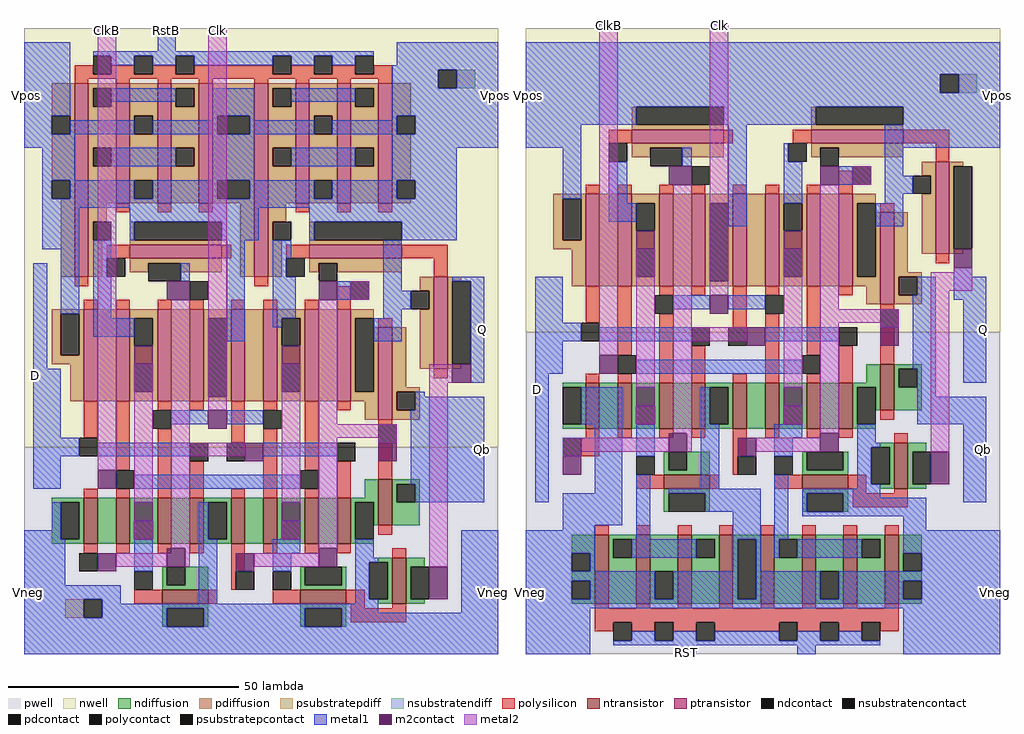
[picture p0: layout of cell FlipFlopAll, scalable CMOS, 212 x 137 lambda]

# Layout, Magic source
magic
tech scmos
<< nwell >>
rect 213 -299 316 -208
rect 322 -274 425 -208
<< pwell >>
rect 213 -344 316 -299
rect 322 -344 425 -274
<< ntransistor >>
rect 335 -295 338 -285
rect 342 -295 345 -285
rect 351 -295 354 -285
rect 358 -295 361 -285
rect 367 -295 370 -285
rect 374 -295 377 -285
rect 383 -295 386 -285
rect 390 -295 393 -285
rect 399 -291 402 -281
rect 226 -320 229 -310
rect 233 -320 236 -310
rect 242 -320 245 -310
rect 249 -320 252 -310
rect 258 -320 261 -310
rect 265 -320 268 -310
rect 274 -320 277 -310
rect 281 -320 284 -310
rect 290 -316 293 -306
rect 352 -308 362 -305
rect 382 -308 392 -305
rect 402 -308 405 -298
rect 243 -333 253 -330
rect 273 -333 283 -330
rect 293 -333 296 -323
rect 337 -333 340 -318
rect 346 -333 349 -318
rect 355 -333 358 -318
rect 364 -333 367 -318
rect 373 -333 376 -318
rect 382 -333 385 -318
rect 391 -333 394 -318
rect 400 -333 403 -318
<< ptransistor >>
rect 224 -262 227 -220
rect 233 -246 236 -220
rect 242 -246 245 -220
rect 251 -246 254 -220
rect 236 -258 256 -255
rect 263 -262 266 -220
rect 272 -246 275 -220
rect 281 -246 284 -220
rect 290 -246 293 -220
rect 345 -233 365 -230
rect 384 -233 404 -230
rect 275 -258 295 -255
rect 226 -289 229 -269
rect 233 -289 236 -269
rect 242 -289 245 -269
rect 249 -289 252 -269
rect 258 -289 261 -269
rect 265 -289 268 -269
rect 274 -289 277 -269
rect 281 -289 284 -269
rect 290 -293 293 -273
rect 302 -282 305 -262
rect 335 -264 338 -244
rect 342 -264 345 -244
rect 351 -264 354 -244
rect 358 -264 361 -244
rect 367 -264 370 -244
rect 374 -264 377 -244
rect 383 -264 386 -244
rect 390 -264 393 -244
rect 399 -268 402 -248
rect 411 -257 414 -237
<< ndiffusion >>
rect 396 -285 399 -281
rect 330 -286 335 -285
rect 334 -294 335 -286
rect 330 -295 335 -294
rect 338 -295 342 -285
rect 345 -290 351 -285
rect 345 -294 346 -290
rect 350 -294 351 -290
rect 345 -295 351 -294
rect 354 -295 358 -285
rect 361 -286 367 -285
rect 361 -294 362 -286
rect 366 -294 367 -286
rect 361 -295 367 -294
rect 370 -295 374 -285
rect 377 -290 383 -285
rect 377 -294 378 -290
rect 382 -294 383 -290
rect 377 -295 383 -294
rect 386 -295 390 -285
rect 393 -286 399 -285
rect 393 -294 394 -286
rect 398 -291 399 -286
rect 402 -282 408 -281
rect 402 -286 403 -282
rect 407 -286 408 -282
rect 402 -291 408 -286
rect 393 -295 398 -294
rect 352 -304 353 -300
rect 357 -304 362 -300
rect 352 -305 362 -304
rect 399 -299 402 -298
rect 382 -304 383 -300
rect 391 -304 392 -300
rect 382 -305 392 -304
rect 287 -310 290 -306
rect 219 -311 226 -310
rect 219 -319 221 -311
rect 225 -319 226 -311
rect 219 -320 226 -319
rect 229 -320 233 -310
rect 236 -315 242 -310
rect 236 -319 237 -315
rect 241 -319 242 -315
rect 236 -320 242 -319
rect 245 -320 249 -310
rect 252 -311 258 -310
rect 252 -319 253 -311
rect 257 -319 258 -311
rect 252 -320 258 -319
rect 261 -320 265 -310
rect 268 -315 274 -310
rect 268 -319 269 -315
rect 273 -319 274 -315
rect 268 -320 274 -319
rect 277 -320 281 -310
rect 284 -311 290 -310
rect 284 -319 285 -311
rect 289 -316 290 -311
rect 293 -307 299 -306
rect 293 -311 294 -307
rect 298 -311 299 -307
rect 401 -307 402 -299
rect 399 -308 402 -307
rect 405 -300 409 -298
rect 405 -307 406 -300
rect 405 -308 409 -307
rect 293 -316 299 -311
rect 352 -309 362 -308
rect 352 -313 353 -309
rect 361 -313 362 -309
rect 382 -309 392 -308
rect 382 -313 383 -309
rect 391 -313 392 -309
rect 284 -320 289 -319
rect 243 -329 244 -325
rect 248 -329 253 -325
rect 243 -330 253 -329
rect 332 -322 337 -318
rect 290 -324 293 -323
rect 273 -329 274 -325
rect 282 -329 283 -325
rect 273 -330 283 -329
rect 292 -332 293 -324
rect 290 -333 293 -332
rect 296 -325 300 -323
rect 296 -332 297 -325
rect 336 -326 337 -322
rect 332 -328 337 -326
rect 336 -332 337 -328
rect 296 -333 300 -332
rect 332 -333 337 -332
rect 340 -319 346 -318
rect 340 -323 341 -319
rect 345 -323 346 -319
rect 340 -333 346 -323
rect 349 -326 355 -318
rect 349 -332 350 -326
rect 354 -332 355 -326
rect 349 -333 355 -332
rect 358 -319 364 -318
rect 358 -323 359 -319
rect 363 -323 364 -319
rect 358 -333 364 -323
rect 367 -319 373 -318
rect 367 -332 368 -319
rect 372 -332 373 -319
rect 367 -333 373 -332
rect 376 -319 382 -318
rect 376 -323 377 -319
rect 381 -323 382 -319
rect 376 -333 382 -323
rect 385 -326 391 -318
rect 385 -332 386 -326
rect 390 -332 391 -326
rect 385 -333 391 -332
rect 394 -319 400 -318
rect 394 -323 395 -319
rect 399 -323 400 -319
rect 394 -333 400 -323
rect 403 -322 408 -318
rect 403 -326 404 -322
rect 403 -328 408 -326
rect 403 -332 404 -328
rect 403 -333 408 -332
rect 243 -334 253 -333
rect 243 -338 244 -334
rect 252 -338 253 -334
rect 273 -334 283 -333
rect 273 -338 274 -334
rect 282 -338 283 -334
<< pdiffusion >>
rect 219 -227 224 -220
rect 223 -231 224 -227
rect 219 -241 224 -231
rect 223 -245 224 -241
rect 221 -262 224 -245
rect 227 -221 233 -220
rect 227 -225 228 -221
rect 232 -225 233 -221
rect 227 -234 233 -225
rect 227 -238 228 -234
rect 232 -238 233 -234
rect 227 -246 233 -238
rect 236 -227 242 -220
rect 236 -231 237 -227
rect 241 -231 242 -227
rect 236 -241 242 -231
rect 236 -245 237 -241
rect 241 -245 242 -241
rect 236 -246 242 -245
rect 245 -221 251 -220
rect 245 -225 246 -221
rect 250 -225 251 -221
rect 245 -234 251 -225
rect 245 -238 246 -234
rect 250 -238 251 -234
rect 245 -246 251 -238
rect 254 -227 263 -220
rect 254 -231 255 -227
rect 262 -231 263 -227
rect 254 -241 263 -231
rect 254 -245 255 -241
rect 262 -245 263 -241
rect 254 -246 263 -245
rect 227 -250 231 -246
rect 227 -254 228 -250
rect 236 -254 237 -250
rect 227 -262 230 -254
rect 236 -255 256 -254
rect 236 -259 256 -258
rect 236 -261 240 -259
rect 247 -261 256 -259
rect 260 -262 263 -246
rect 266 -221 272 -220
rect 266 -225 267 -221
rect 271 -225 272 -221
rect 266 -234 272 -225
rect 266 -238 267 -234
rect 271 -238 272 -234
rect 266 -246 272 -238
rect 275 -227 281 -220
rect 275 -231 276 -227
rect 280 -231 281 -227
rect 275 -241 281 -231
rect 275 -245 276 -241
rect 280 -245 281 -241
rect 275 -246 281 -245
rect 284 -221 290 -220
rect 284 -225 285 -221
rect 289 -225 290 -221
rect 284 -234 290 -225
rect 284 -238 285 -234
rect 289 -238 290 -234
rect 284 -246 290 -238
rect 293 -227 297 -220
rect 293 -231 294 -227
rect 345 -229 346 -225
rect 345 -230 365 -229
rect 384 -229 385 -225
rect 384 -230 404 -229
rect 293 -241 297 -231
rect 345 -234 365 -233
rect 345 -236 349 -234
rect 356 -236 365 -234
rect 384 -234 404 -233
rect 384 -236 386 -234
rect 390 -236 404 -234
rect 293 -245 294 -241
rect 408 -240 411 -237
rect 410 -244 411 -240
rect 328 -245 335 -244
rect 293 -246 297 -245
rect 266 -250 270 -246
rect 266 -254 267 -250
rect 275 -254 276 -250
rect 266 -262 269 -254
rect 275 -255 295 -254
rect 328 -254 330 -245
rect 334 -254 335 -245
rect 328 -256 335 -254
rect 275 -259 295 -258
rect 275 -261 277 -259
rect 281 -261 295 -259
rect 299 -265 302 -262
rect 301 -269 302 -265
rect 219 -270 226 -269
rect 219 -279 221 -270
rect 225 -279 226 -270
rect 219 -281 226 -279
rect 223 -289 226 -281
rect 229 -289 233 -269
rect 236 -271 242 -269
rect 236 -277 237 -271
rect 241 -277 242 -271
rect 236 -281 242 -277
rect 236 -287 237 -281
rect 241 -287 242 -281
rect 236 -289 242 -287
rect 245 -289 249 -269
rect 252 -271 258 -269
rect 252 -288 253 -271
rect 257 -288 258 -271
rect 252 -289 258 -288
rect 261 -289 265 -269
rect 268 -271 274 -269
rect 268 -277 269 -271
rect 273 -277 274 -271
rect 268 -281 274 -277
rect 268 -287 269 -281
rect 273 -287 274 -281
rect 268 -289 274 -287
rect 277 -289 281 -269
rect 284 -271 289 -269
rect 284 -287 285 -271
rect 289 -287 290 -273
rect 284 -289 290 -287
rect 287 -293 290 -289
rect 293 -286 296 -273
rect 299 -282 302 -269
rect 305 -263 308 -262
rect 305 -281 306 -263
rect 332 -264 335 -256
rect 338 -264 342 -244
rect 345 -246 351 -244
rect 345 -252 346 -246
rect 350 -252 351 -246
rect 345 -256 351 -252
rect 345 -262 346 -256
rect 350 -262 351 -256
rect 345 -264 351 -262
rect 354 -264 358 -244
rect 361 -246 367 -244
rect 361 -263 362 -246
rect 366 -263 367 -246
rect 361 -264 367 -263
rect 370 -264 374 -244
rect 377 -246 383 -244
rect 377 -252 378 -246
rect 382 -252 383 -246
rect 377 -256 383 -252
rect 377 -262 378 -256
rect 382 -262 383 -256
rect 377 -264 383 -262
rect 386 -264 390 -244
rect 393 -246 398 -244
rect 393 -262 394 -246
rect 398 -262 399 -248
rect 393 -264 399 -262
rect 305 -282 308 -281
rect 396 -268 399 -264
rect 402 -261 405 -248
rect 408 -257 411 -244
rect 414 -238 417 -237
rect 414 -256 415 -238
rect 414 -257 417 -256
rect 402 -262 408 -261
rect 402 -266 403 -262
rect 407 -266 408 -262
rect 402 -268 408 -266
rect 293 -287 299 -286
rect 293 -291 294 -287
rect 298 -291 299 -287
rect 293 -293 299 -291
<< ndcontact >>
rect 330 -294 334 -286
rect 346 -294 350 -290
rect 362 -294 366 -286
rect 378 -294 382 -290
rect 394 -294 398 -286
rect 403 -286 407 -282
rect 353 -304 357 -300
rect 383 -304 391 -300
rect 221 -319 225 -311
rect 237 -319 241 -315
rect 253 -319 257 -311
rect 269 -319 273 -315
rect 285 -319 289 -311
rect 294 -311 298 -307
rect 397 -307 401 -299
rect 406 -307 410 -300
rect 353 -313 361 -309
rect 383 -313 391 -309
rect 244 -329 248 -325
rect 274 -329 282 -325
rect 288 -332 292 -324
rect 297 -332 301 -325
rect 332 -326 336 -322
rect 332 -332 336 -328
rect 341 -323 345 -319
rect 350 -332 354 -326
rect 359 -323 363 -319
rect 368 -332 372 -319
rect 377 -323 381 -319
rect 386 -332 390 -326
rect 395 -323 399 -319
rect 404 -326 408 -322
rect 404 -332 408 -328
rect 244 -338 252 -334
rect 274 -338 282 -334
<< pdcontact >>
rect 219 -231 223 -227
rect 219 -245 223 -241
rect 228 -225 232 -221
rect 228 -238 232 -234
rect 237 -231 241 -227
rect 237 -245 241 -241
rect 246 -225 250 -221
rect 246 -238 250 -234
rect 255 -231 262 -227
rect 255 -245 262 -241
rect 228 -254 232 -250
rect 237 -254 256 -250
rect 240 -263 247 -259
rect 267 -225 271 -221
rect 267 -238 271 -234
rect 276 -231 280 -227
rect 276 -245 280 -241
rect 285 -225 289 -221
rect 285 -238 289 -234
rect 294 -231 298 -227
rect 346 -229 365 -225
rect 385 -229 404 -225
rect 349 -238 356 -234
rect 386 -238 390 -234
rect 294 -245 298 -241
rect 406 -244 410 -240
rect 267 -254 271 -250
rect 276 -254 295 -250
rect 330 -254 334 -245
rect 277 -263 281 -259
rect 297 -269 301 -265
rect 221 -279 225 -270
rect 237 -277 241 -271
rect 237 -287 241 -281
rect 253 -288 257 -271
rect 269 -277 273 -271
rect 269 -287 273 -281
rect 285 -287 289 -271
rect 306 -281 310 -263
rect 346 -252 350 -246
rect 346 -262 350 -256
rect 362 -263 366 -246
rect 378 -252 382 -246
rect 378 -262 382 -256
rect 394 -262 398 -246
rect 415 -256 419 -238
rect 403 -266 407 -262
rect 294 -291 298 -287
<< psubstratepdiff >>
rect 222 -336 226 -332
<< nsubstratendiff >>
rect 307 -221 311 -217
rect 416 -222 420 -218
<< psubstratepcontact >>
rect 226 -336 230 -332
<< nsubstratencontact >>
rect 303 -221 307 -217
rect 412 -222 416 -218
<< polysilicon >>
rect 224 -218 228 -216
rect 232 -218 237 -216
rect 241 -218 246 -216
rect 250 -218 267 -216
rect 271 -218 276 -216
rect 280 -218 285 -216
rect 289 -218 293 -216
rect 224 -219 293 -218
rect 224 -220 227 -219
rect 233 -220 236 -219
rect 242 -220 245 -219
rect 251 -220 254 -219
rect 263 -220 266 -219
rect 272 -220 275 -219
rect 281 -220 284 -219
rect 290 -220 293 -219
rect 233 -248 236 -246
rect 242 -248 245 -246
rect 251 -248 254 -246
rect 231 -258 236 -255
rect 256 -258 258 -255
rect 224 -264 227 -262
rect 340 -233 345 -230
rect 365 -233 367 -230
rect 380 -233 384 -230
rect 404 -233 414 -230
rect 411 -237 414 -233
rect 335 -244 338 -242
rect 342 -244 345 -242
rect 351 -244 354 -242
rect 358 -244 361 -242
rect 367 -244 370 -242
rect 374 -244 377 -242
rect 383 -244 386 -242
rect 390 -244 393 -239
rect 272 -248 275 -246
rect 281 -248 284 -246
rect 290 -248 293 -246
rect 270 -258 275 -255
rect 295 -258 305 -255
rect 263 -264 266 -262
rect 302 -262 305 -258
rect 226 -269 229 -267
rect 233 -269 236 -267
rect 242 -269 245 -267
rect 249 -269 252 -267
rect 258 -269 261 -267
rect 265 -269 268 -267
rect 274 -269 277 -267
rect 281 -269 284 -264
rect 290 -273 293 -271
rect 226 -297 229 -289
rect 233 -304 236 -289
rect 242 -291 245 -289
rect 249 -291 252 -289
rect 226 -310 229 -308
rect 233 -310 236 -308
rect 242 -310 245 -295
rect 258 -298 261 -289
rect 265 -291 268 -289
rect 249 -310 252 -302
rect 258 -310 261 -308
rect 265 -310 268 -295
rect 274 -304 277 -289
rect 281 -291 284 -289
rect 399 -248 402 -246
rect 335 -272 338 -264
rect 342 -279 345 -264
rect 351 -266 354 -264
rect 358 -266 361 -264
rect 302 -284 305 -282
rect 335 -285 338 -283
rect 342 -285 345 -283
rect 351 -285 354 -270
rect 367 -273 370 -264
rect 374 -266 377 -264
rect 358 -285 361 -277
rect 367 -285 370 -283
rect 374 -285 377 -270
rect 383 -279 386 -264
rect 390 -266 393 -264
rect 411 -259 414 -257
rect 399 -269 402 -268
rect 383 -285 386 -283
rect 390 -285 393 -277
rect 399 -281 402 -273
rect 290 -294 293 -293
rect 399 -293 402 -291
rect 335 -297 338 -295
rect 342 -297 345 -295
rect 351 -297 354 -295
rect 358 -297 361 -295
rect 274 -310 277 -308
rect 281 -310 284 -302
rect 290 -306 293 -298
rect 334 -301 338 -297
rect 367 -301 370 -295
rect 374 -297 377 -295
rect 383 -297 386 -295
rect 390 -297 393 -295
rect 402 -298 405 -296
rect 367 -305 368 -301
rect 346 -308 352 -305
rect 362 -308 364 -305
rect 376 -308 382 -305
rect 392 -308 396 -305
rect 393 -309 396 -308
rect 402 -309 405 -308
rect 393 -312 405 -309
rect 290 -318 293 -316
rect 337 -318 340 -316
rect 346 -318 349 -316
rect 355 -318 358 -316
rect 364 -318 367 -316
rect 373 -318 376 -316
rect 382 -318 385 -316
rect 391 -318 394 -316
rect 400 -318 403 -316
rect 226 -322 229 -320
rect 233 -322 236 -320
rect 242 -322 245 -320
rect 249 -322 252 -320
rect 258 -326 261 -320
rect 265 -322 268 -320
rect 274 -322 277 -320
rect 281 -322 284 -320
rect 293 -323 296 -321
rect 258 -330 259 -326
rect 237 -333 243 -330
rect 253 -333 255 -330
rect 267 -333 273 -330
rect 283 -333 287 -330
rect 284 -334 287 -333
rect 293 -334 296 -333
rect 284 -337 296 -334
rect 337 -334 340 -333
rect 346 -334 349 -333
rect 355 -334 358 -333
rect 364 -334 367 -333
rect 373 -334 376 -333
rect 382 -334 385 -333
rect 391 -334 394 -333
rect 400 -334 403 -333
rect 337 -337 403 -334
rect 337 -339 341 -337
rect 345 -339 350 -337
rect 354 -339 359 -337
rect 363 -339 377 -337
rect 381 -339 386 -337
rect 390 -339 395 -337
rect 399 -339 403 -337
<< polycontact >>
rect 228 -218 232 -214
rect 237 -218 241 -214
rect 246 -218 250 -214
rect 267 -218 271 -214
rect 276 -218 280 -214
rect 285 -218 289 -214
rect 231 -262 235 -258
rect 340 -237 344 -233
rect 379 -237 383 -233
rect 358 -242 362 -238
rect 393 -242 397 -238
rect 270 -262 274 -258
rect 249 -267 253 -263
rect 284 -267 288 -263
rect 225 -301 229 -297
rect 241 -295 245 -291
rect 233 -308 237 -304
rect 249 -302 253 -298
rect 257 -302 261 -298
rect 265 -295 269 -291
rect 334 -276 338 -272
rect 350 -270 354 -266
rect 342 -283 346 -279
rect 358 -277 362 -273
rect 366 -277 370 -273
rect 374 -270 378 -266
rect 399 -273 403 -269
rect 382 -283 386 -279
rect 390 -277 394 -273
rect 290 -298 294 -294
rect 273 -308 277 -304
rect 281 -302 285 -298
rect 330 -301 334 -297
rect 346 -305 350 -301
rect 368 -305 372 -301
rect 376 -305 380 -301
rect 225 -326 229 -322
rect 237 -330 241 -326
rect 259 -330 263 -326
rect 267 -330 271 -326
rect 341 -341 345 -337
rect 350 -341 354 -337
rect 359 -341 363 -337
rect 377 -341 381 -337
rect 386 -341 390 -337
rect 395 -341 399 -337
<< metal1 >>
rect 213 -227 223 -211
rect 242 -213 246 -208
rect 228 -214 289 -213
rect 232 -216 237 -214
rect 241 -216 246 -214
rect 250 -216 267 -214
rect 271 -216 276 -214
rect 280 -216 285 -214
rect 294 -216 316 -211
rect 293 -217 316 -216
rect 293 -221 303 -217
rect 307 -221 316 -217
rect 232 -224 246 -221
rect 254 -227 263 -221
rect 271 -224 285 -221
rect 293 -227 316 -221
rect 213 -231 219 -227
rect 223 -231 237 -228
rect 254 -228 255 -227
rect 241 -231 255 -228
rect 262 -228 263 -227
rect 262 -231 276 -228
rect 293 -228 294 -227
rect 280 -231 294 -228
rect 298 -231 316 -227
rect 213 -234 224 -231
rect 217 -241 224 -234
rect 232 -238 246 -234
rect 254 -241 263 -231
rect 293 -234 316 -231
rect 322 -218 425 -211
rect 322 -222 412 -218
rect 416 -222 425 -218
rect 322 -225 425 -222
rect 322 -229 346 -225
rect 365 -229 385 -225
rect 404 -229 425 -225
rect 322 -234 334 -229
rect 271 -238 285 -234
rect 293 -241 307 -234
rect 217 -245 219 -241
rect 223 -245 237 -241
rect 241 -245 255 -241
rect 262 -245 276 -241
rect 280 -245 294 -241
rect 298 -245 307 -241
rect 217 -247 307 -245
rect 217 -256 225 -247
rect 236 -250 264 -247
rect 275 -250 307 -247
rect 215 -282 218 -259
rect 221 -270 225 -256
rect 236 -254 237 -250
rect 256 -254 264 -250
rect 275 -254 276 -250
rect 295 -254 307 -250
rect 330 -245 334 -234
rect 340 -246 344 -237
rect 356 -238 358 -234
rect 340 -250 346 -246
rect 228 -258 232 -254
rect 228 -262 231 -258
rect 228 -271 232 -262
rect 247 -263 249 -259
rect 228 -275 237 -271
rect 215 -297 221 -282
rect 257 -276 261 -254
rect 267 -258 271 -254
rect 267 -262 270 -258
rect 267 -271 272 -262
rect 281 -267 284 -263
rect 291 -265 295 -254
rect 306 -263 313 -262
rect 291 -269 297 -265
rect 291 -271 295 -269
rect 267 -273 269 -271
rect 289 -276 295 -271
rect 310 -285 313 -263
rect 324 -272 330 -262
rect 366 -251 370 -229
rect 378 -237 379 -233
rect 400 -234 425 -229
rect 378 -246 382 -237
rect 390 -242 393 -238
rect 400 -240 404 -234
rect 400 -244 406 -240
rect 400 -246 404 -244
rect 398 -251 404 -246
rect 415 -262 419 -260
rect 407 -266 411 -262
rect 354 -269 362 -266
rect 366 -269 374 -266
rect 324 -276 334 -272
rect 338 -276 358 -273
rect 324 -283 330 -276
rect 374 -276 390 -273
rect 346 -283 382 -280
rect 406 -282 411 -266
rect 415 -267 422 -262
rect 298 -288 300 -287
rect 298 -291 313 -288
rect 245 -294 253 -291
rect 257 -294 265 -291
rect 215 -301 225 -297
rect 229 -301 249 -298
rect 215 -308 221 -301
rect 265 -301 281 -298
rect 237 -308 273 -305
rect 297 -307 313 -291
rect 298 -311 313 -307
rect 324 -311 327 -283
rect 334 -294 343 -286
rect 337 -309 343 -294
rect 219 -317 221 -311
rect 213 -319 221 -317
rect 213 -329 222 -319
rect 237 -326 241 -319
rect 251 -319 253 -311
rect 213 -332 234 -329
rect 213 -336 226 -332
rect 230 -333 234 -332
rect 251 -333 255 -319
rect 267 -322 273 -319
rect 330 -316 343 -309
rect 346 -301 350 -294
rect 360 -294 362 -286
rect 330 -317 337 -316
rect 267 -326 271 -322
rect 285 -323 289 -319
rect 285 -324 290 -323
rect 285 -332 288 -324
rect 285 -333 290 -332
rect 230 -334 290 -333
rect 230 -336 244 -334
rect 213 -338 244 -336
rect 252 -338 274 -334
rect 282 -335 290 -334
rect 308 -335 316 -317
rect 282 -338 316 -335
rect 213 -344 316 -338
rect 322 -322 337 -317
rect 346 -319 349 -305
rect 360 -308 364 -294
rect 376 -297 382 -294
rect 407 -288 411 -282
rect 417 -285 422 -267
rect 407 -294 422 -288
rect 376 -301 380 -297
rect 394 -298 398 -294
rect 394 -299 399 -298
rect 353 -309 373 -308
rect 361 -313 373 -309
rect 367 -319 373 -313
rect 322 -326 332 -322
rect 336 -326 337 -322
rect 345 -323 359 -319
rect 367 -326 368 -319
rect 322 -328 350 -326
rect 322 -332 332 -328
rect 336 -332 350 -328
rect 354 -332 368 -326
rect 372 -326 373 -319
rect 376 -319 379 -305
rect 394 -307 397 -299
rect 394 -308 399 -307
rect 382 -309 399 -308
rect 382 -313 383 -309
rect 391 -310 399 -309
rect 391 -313 409 -310
rect 417 -311 422 -294
rect 382 -314 409 -313
rect 404 -317 409 -314
rect 376 -323 377 -319
rect 381 -323 395 -319
rect 404 -322 425 -317
rect 408 -326 425 -322
rect 372 -332 386 -326
rect 390 -328 425 -326
rect 390 -332 404 -328
rect 408 -332 425 -328
rect 322 -334 425 -332
rect 322 -344 336 -334
rect 345 -341 350 -339
rect 354 -341 359 -339
rect 363 -341 377 -339
rect 381 -341 386 -339
rect 390 -341 395 -339
rect 341 -342 399 -341
rect 355 -344 359 -342
rect 381 -344 385 -342
rect 404 -344 425 -334
<< m2contact >>
rect 353 -242 358 -238
rect 244 -267 249 -263
rect 237 -281 241 -277
rect 277 -267 281 -263
rect 346 -256 350 -252
rect 269 -281 273 -277
rect 306 -285 310 -281
rect 386 -242 390 -238
rect 378 -256 382 -252
rect 415 -260 419 -256
rect 362 -270 366 -266
rect 370 -277 374 -273
rect 399 -277 403 -273
rect 338 -283 342 -279
rect 253 -295 257 -291
rect 261 -302 265 -298
rect 290 -302 294 -298
rect 229 -308 233 -304
rect 330 -305 334 -301
rect 237 -315 241 -311
rect 229 -326 233 -322
rect 269 -315 273 -311
rect 244 -325 248 -321
rect 346 -290 350 -286
rect 378 -290 382 -286
rect 353 -300 357 -296
rect 259 -326 263 -322
rect 277 -325 281 -321
rect 301 -332 305 -325
rect 368 -301 372 -297
rect 386 -300 390 -296
rect 410 -307 414 -300
<< metal2 >>
rect 229 -304 233 -208
rect 237 -311 241 -281
rect 237 -319 241 -315
rect 245 -298 249 -267
rect 253 -291 257 -208
rect 284 -267 288 -263
rect 245 -301 261 -298
rect 245 -321 249 -301
rect 269 -311 273 -281
rect 269 -319 273 -315
rect 277 -294 281 -267
rect 338 -279 342 -207
rect 301 -285 306 -281
rect 277 -297 294 -294
rect 233 -325 244 -322
rect 248 -325 249 -321
rect 277 -321 281 -297
rect 290 -298 294 -297
rect 263 -325 277 -322
rect 301 -325 305 -285
rect 346 -286 350 -256
rect 346 -294 350 -290
rect 354 -273 358 -242
rect 362 -266 366 -207
rect 393 -242 397 -238
rect 354 -276 370 -273
rect 354 -296 358 -276
rect 378 -286 382 -256
rect 378 -294 382 -290
rect 386 -269 390 -242
rect 415 -261 419 -260
rect 410 -265 419 -261
rect 386 -272 403 -269
rect 330 -300 353 -297
rect 357 -300 358 -296
rect 386 -296 390 -272
rect 399 -273 403 -272
rect 330 -301 334 -300
rect 372 -300 386 -297
rect 410 -300 414 -265
<< labels >>
rlabel metal2 338 -208 342 -207 1 ClkB
rlabel metal2 362 -208 366 -207 1 Clk
rlabel metal1 322 -234 323 -211 1 Vpos
rlabel metal1 424 -234 425 -211 1 Vpos
rlabel metal1 322 -344 324 -317 1 Vneg
rlabel metal1 314 -344 316 -317 1 Vneg
rlabel metal1 423 -344 425 -317 1 Vneg
rlabel pwell 213 -344 215 -317 3 Vneg
rlabel metal1 315 -234 316 -211 1 Vpos
rlabel metal1 213 -234 214 -211 3 Vpos
rlabel metal1 312 -311 313 -288 1 Qb
rlabel metal1 421 -311 422 -288 1 Qb
rlabel metal1 312 -285 313 -262 1 Q
rlabel metal1 421 -285 422 -262 1 Q
rlabel metal2 229 -209 233 -208 1 ClkB
rlabel metal2 253 -209 257 -208 1 Clk
rlabel metal1 242 -209 246 -208 1 RstB
rlabel metal1 355 -344 359 -343 1 RST
rlabel metal1 324 -311 325 -262 1 D
rlabel metal1 215 -308 216 -259 3 D
<< end >>
